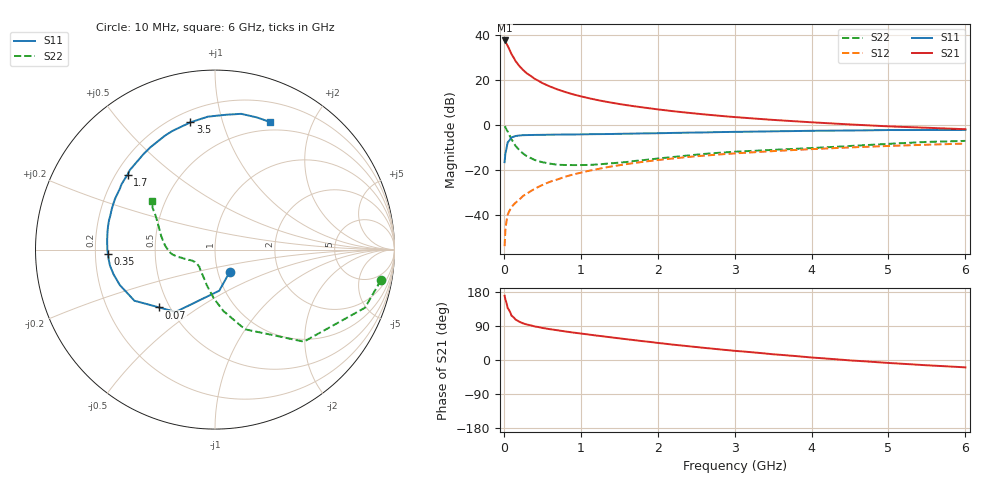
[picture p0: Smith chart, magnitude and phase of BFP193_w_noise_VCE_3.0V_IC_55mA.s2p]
! (c) 2017  Infineon Technologies AG, Munich
! Infineon Technologies  Discrete & RF Semiconductors
! BFP193
! VCE =  3.0 V,  IC =  55 mA
! Common Emitter S-Parameters:  Jan 2017
# GHz  S  MA  R  50
!  f  S11  S21  S12  S22
! GHz  MAG  ANG  MAG  ANG  MAG  ANG  MAG  ANG
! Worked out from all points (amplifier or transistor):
!   77 points, 10 MHz to 6 GHz, reference 50 ohm
!   highest |S21| = 37.6 dB at 10 MHz (marker M1)
!   |S21| within 3 dB of that: start of sweep to 58.28 MHz
!   unconditionally stable (mu >= 1): 498.5 MHz to 2.369 GHz
!   at 130 MHz: K = 0.66, MSG = 32.6 dB, |S12| = -35.4 dB
!   at 2.2 GHz: K = 1.01, MAG = 9.9 dB, |S12| = -14.9 dB
!   at 6 GHz: K = 0.93, MSG = 3.2 dB, |S12| = -8.3 dB
!   lowest NFmin = 1.60 dB at 450 MHz
!   S11 on the Smith chart (normalised r, x): 10 MHz: 1.14, -0.29; 70 MHz: 0.44, -0.35; 350 MHz: 0.25, -0.02; 1.7 GHz: 0.25, +0.35; 3.5 GHz: 0.27, +0.79; 6 GHz: 0.41, +1.44
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0.01  0.1484 -56.1  76.1 169.5  0.002 84.7  0.9405 -10.4
0.02  0.2303 -84.1  73.44 160.0  0.0046 84.0  0.8961 -21.2
0.05  0.4108 -122.3  57.51 137.0  0.01 63.3  0.7127 -46.0
0.07  0.4481 -134.0  48.94 131.0  0.012 61.9  0.6068 -53.1
0.1  0.5317 -147.6  37.67 117.0  0.0149 60.5  0.475 -69.3
0.15  0.566 -159.6  26.83 107.2  0.0184 60.1  0.3462 -82.1
0.2  0.5817 -166.3  20.69 101.1  0.0217 64.4  0.276 -90.8
0.25  0.5919 -171.3  16.77 96.7  0.0263 64.0  0.2309 -97.5
0.3  0.595 -174.8  14.05 93.6  0.0296 65.9  0.2011 -103.5
0.35  0.5968 -177.6  12.35 91.4  0.0336 67.6  0.1831 -107.6
0.4  0.6 179.7  10.68 88.6  0.0377 69.0  0.1663 -112.6
0.5  0.603 175.1  8.568 84.7  0.046 69.0  0.1483 -120.3
0.6  0.6064 171.4  7.178 81.3  0.0544 69.1  0.1375 -126.9
0.8  0.6125 164.9  5.404 75.3  0.0706 69.5  0.1282 -135.7
1.1  0.621 156.0  3.958 67.3  0.0949 66.5  0.1289 -146.0
1.7  0.6411 139.5  2.601 52.3  0.1426 59.5  0.1577 -158.8
2.1  0.659 129.2  2.122 42.9  0.1723 54.2  0.1861 -165.2
3.1  0.7049 108.0  1.455 22.6  0.238 40.9  0.2582 -178.6
3.5  0.7223 100.9  1.296 15.1  0.2616 36.3  0.2791 175.4
4.1  0.743 91.6  1.121 5.2  0.2946 28.9  0.3125 164.7
5.1  0.7699 77.8  0.917 -9.0  0.345 17.2  0.3872 149.5
6  0.7743 66.7  0.804 -19.5  0.3845 7.2  0.4417 142.3
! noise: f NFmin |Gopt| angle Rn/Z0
0.45  1.6  0.45  -170  0.09
0.9  1.65  0.47  -163  0.09
1.9  2.29  0.62  -131  0.25
2.4  2.64  0.64  -118  0.51
